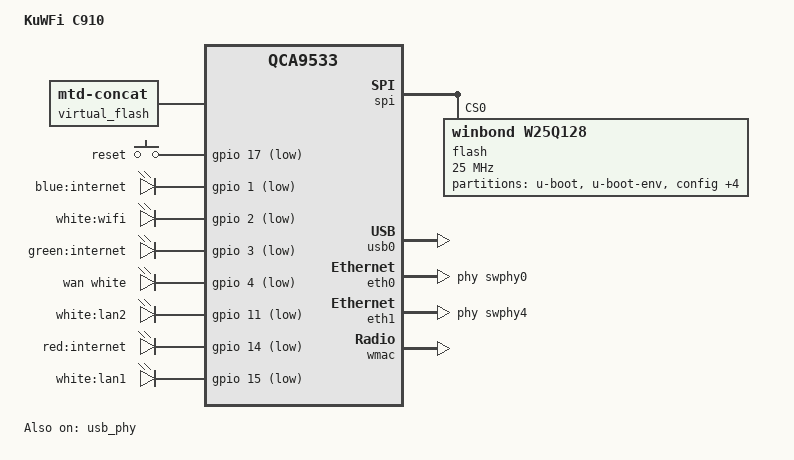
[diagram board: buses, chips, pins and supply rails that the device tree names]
// SPDX-License-Identifier: GPL-2.0-or-later OR MIT

#include "qca953x.dtsi"

#include <dt-bindings/gpio/gpio.h>
#include <dt-bindings/input/input.h>
#include <dt-bindings/leds/common.h>
#include <dt-bindings/mtd/partitions/uimage.h>

/ {
	compatible = "kuwfi,c910", "qca,qca9533";
	model = "KuWFi C910";

	aliases {
		label-mac-device = &eth1;
		led-boot = &internet_red;
		led-failsafe = &internet_red;
		led-upgrade = &internet_red;
	};

	virtual_flash {
		compatible = "mtd-concat";
		devices = <&fwconcat0 &fwconcat1>;

		partitions {
			compatible = "fixed-partitions";
			#address-cells = <1>;
			#size-cells = <1>;

			partition@0 {
				reg = <0x0 0x0>;
				label = "firmware";
				compatible = "openwrt,uimage", "denx,uimage";
				openwrt,ih-magic = <IH_MAGIC_OKLI>;
			};
		};
	};

	keys {
		compatible = "gpio-keys";

		reset {
			label = "reset";
			linux,code = <KEY_RESTART>;
			gpios = <&gpio 17 GPIO_ACTIVE_LOW>;
			debounce-interval = <60>;
		};
	};

	leds {
		compatible = "gpio-leds";

		internet_blue {
			label = "blue:internet";
			gpios = <&gpio 1 GPIO_ACTIVE_LOW>;
		};

		wifi {
			label = "white:wifi";
			gpios = <&gpio 2 GPIO_ACTIVE_LOW>;
			linux,default-trigger = "phy0tpt";
		};

		internet_green {
			label = "green:internet";
			gpios = <&gpio 3 GPIO_ACTIVE_LOW>;
		};

		wan {
			function = LED_FUNCTION_WAN;
			color = <LED_COLOR_ID_WHITE>;
			gpios = <&gpio 4 GPIO_ACTIVE_LOW>;
		};

		lan2 {
			label = "white:lan2";
			gpios = <&gpio 11 GPIO_ACTIVE_LOW>;
		};

		// gpio 12 enables or disables LTE (Quectel EC200T)

		internet_red: internet_red {
			label = "red:internet";
			gpios = <&gpio 14 GPIO_ACTIVE_LOW>;
		};

		lan1 {
			label = "white:lan1";
			gpios = <&gpio 15 GPIO_ACTIVE_LOW>;
		};
	};
};

&spi {
	status = "okay";

	flash@0 {
		compatible = "winbond,w25q128", "jedec,spi-nor";
		reg = <0>;
		spi-max-frequency = <25000000>;

		partitions {
			compatible = "fixed-partitions";
			#address-cells = <1>;
			#size-cells = <1>;

			partition@0 {
				label = "u-boot";
				reg = <0x000000 0x020000>;
				read-only;
			};

			partition@20000 {
				label = "u-boot-env";
				reg = <0x020000 0x010000>;
				read-only;
			};

			partition@30000 {
				label = "config";
				reg = <0x030000 0x020000>;
				read-only;
			};

			fwconcat0: partition@50000 {
				label = "fwconcat0";
				reg = <0x050000 0xe30000>;
			};

			partition@e80000 {
				label = "loader";
				reg = <0xe80000 0x10000>;
			};

			fwconcat1: partition@e90000 {
				label = "fwconcat1";
				reg = <0xe90000 0x160000>;
			};

			partition@ff0000 {
				label = "art";
				reg = <0xff0000 0x010000>;
				read-only;

				nvmem-layout {
					compatible = "fixed-layout";
					#address-cells = <1>;
					#size-cells = <1>;

					calibration_art_1000: macaddr@1000 {
						reg = <0x1000 0x440>;
					};

					macaddr_art_1002: macaddr@1002 {
						compatible = "mac-base";
						reg = <0x1002 0x6>;
						#nvmem-cell-cells = <1>;
					};
				};
			};
		};
	};
};

&usb0 {
	status = "okay";
};

&usb_phy {
	status = "okay";
};

&eth0 {
	status = "okay";

	phy-handle = <&swphy0>;

	nvmem-cells = <&macaddr_art_1002 1>;
	nvmem-cell-names = "mac-address";
};

&eth1 {
	phy-handle = <&swphy4>;

	nvmem-cells = <&macaddr_art_1002 0>;
	nvmem-cell-names = "mac-address";

	gmac-config {
		device = <&gmac>;
		switch-phy-swap = <1>;
	};
};

&wmac {
	status = "okay";

	nvmem-cells = <&calibration_art_1000>;
	nvmem-cell-names = "calibration";
};
